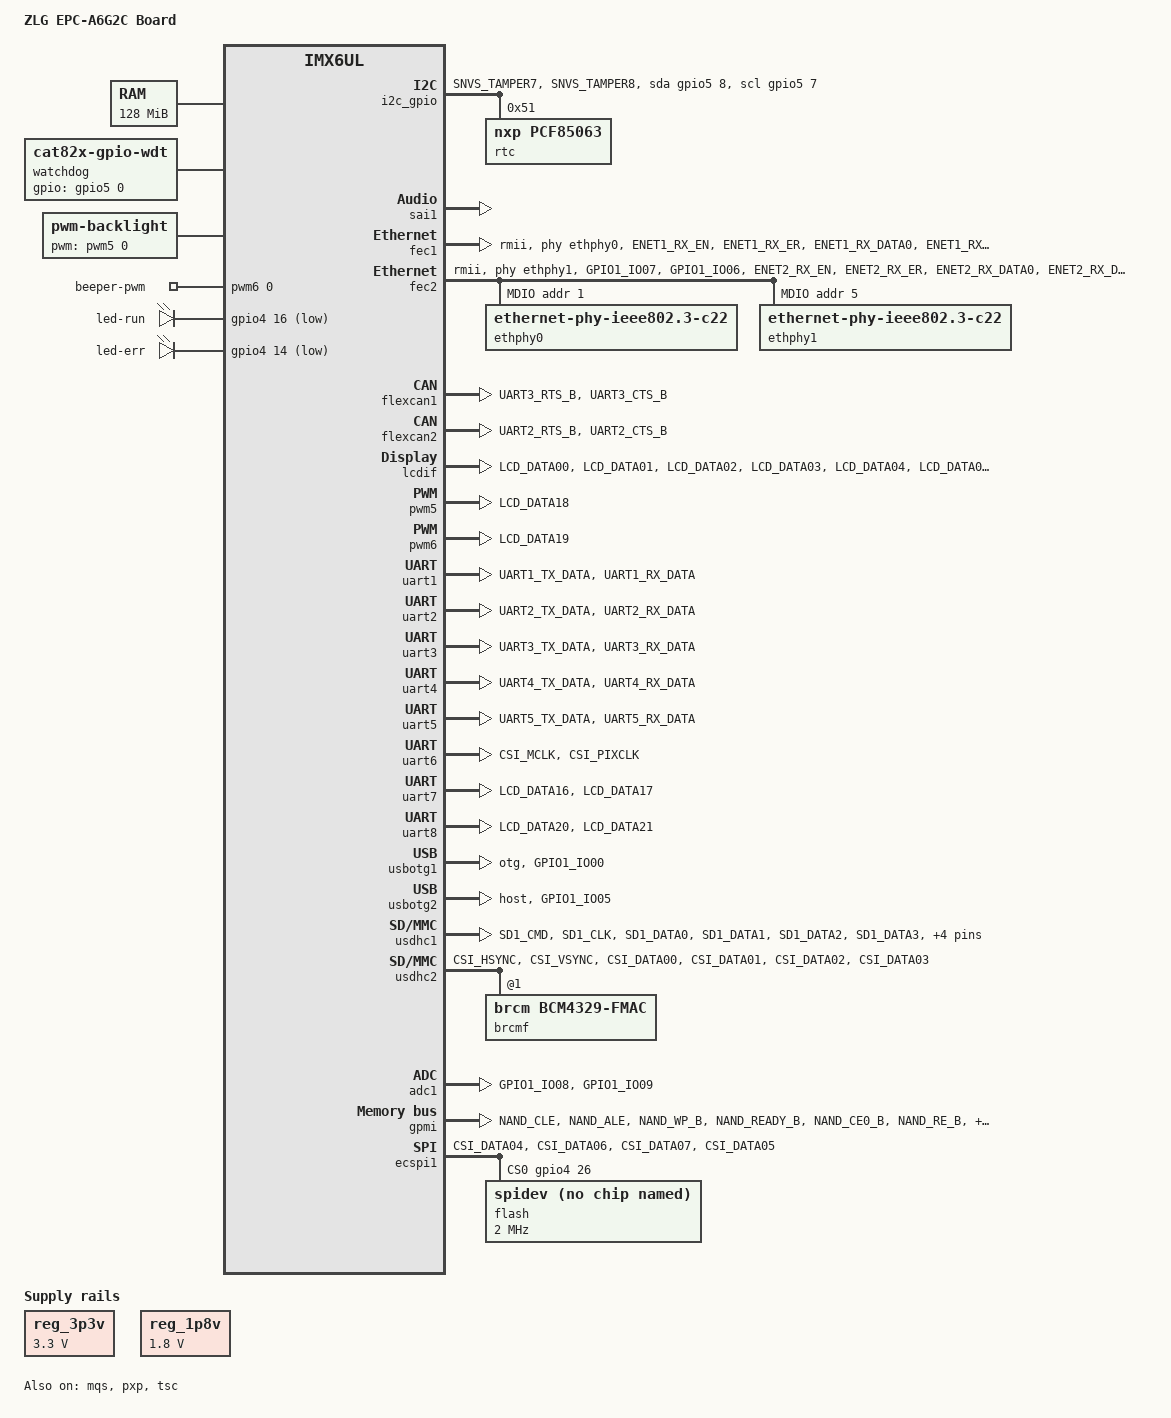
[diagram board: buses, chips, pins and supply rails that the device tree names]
/*
 * Copyright (C) 2015 Freescale Semiconductor, Inc.
 *
 * This program is free software; you can redistribute it and/or modify
 * it under the terms of the GNU General Public License version 2 as
 * published by the Free Software Foundation.
 */

/dts-v1/;

#include <dt-bindings/input/input.h>
#include "imx6g2c-base.dtsi"

/ {
	model = "ZLG EPC-A6G2C Board";
	compatible = "fsl,imx6ul-14x14-evk", "fsl,imx6ul";

	chosen {
		stdout-path = &uart1;
	};

	memory {
		reg = <0x80000000 0x8000000>;	/* 128M */
	};

    reserved-memory {
        #address-cells = <1>;
        #size-cells = <1>;
        ranges;

        linux,cma {
            compatible = "shared-dma-pool";
            reusable;
            size = <0x2000000>;     /* 32M */
            linux,cma-default;
        };
    };

	watchdog: watchdog {
		compatible = "cat82x-gpio-wdt";
		pinctrl-names = "default";
		pinctrl-0 = <&pinctrl_wdt>;
		gpios = <&gpio5 0 0>;
		hw_margin_ms = <800>;
	};

	backlight {
		compatible = "pwm-backlight";
		pwms = <&pwm5 0 5000000>;
		brightness-levels = <0 4 8 16 32 64 128 255>;
		default-brightness-level = <7>;
		status = "okay";
	};

	beep {
		compatible = "pwm-leds";

		beep-leds {
			label = "beeper-pwm";
			pwms = <&pwm6 0 400000>;
			max-brightness = <127>;
		};
	};

	pxp_v4l2 {
		compatible = "fsl,imx6ul-pxp-v4l2", "fsl,imx6sx-pxp-v4l2", "fsl,imx6sl-pxp-v4l2";
		status = "okay";
	};

	sound-mqs {
		compatible = "fsl,imx-audio-mqs";
		model = "mqs-audio";
		cpu-dai = <&sai1>;
		asrc-controller = <&asrc>;
		audio-codec = <&mqs>;
	};

	leds {
		compatible = "gpio-leds";

		green-led {
			label = "led-run";
			gpios = <&gpio4 16 1>;
			linux,default-trigger = "heartbeat";
		};

		red-led {
			label = "led-err";
			gpios = <&gpio4 14 1>;
			default-state = "keep";
		};
	};

	/* add by Codebreaker */
	regulators {
		compatible = "simple-bus";
		#address-cells = <1>;
		#size-cells = <0>;

		reg_3p3v: 3p3v {
			compatible = "regulator-fixed";
			regulator-name = "3P3V";
			regulator-min-microvolt = <3300000>;
			regulator-max-microvolt = <3300000>;
			regulator-always-on;
		};

		reg_1p8v: 1p8v {
			compatible = "regulator-fixed";
			regulator-name = "1P8V";
			regulator-min-microvolt = <1800000>;
			regulator-max-microvolt = <1800000>;
			regulator-always-on;
		};
	};

	i2c_gpio: analog-i2c {
		compatible = "i2c-gpio";
		gpios = <&gpio5 8 0 /* sda */
				 &gpio5 7 0	/* scl */
			>;
		pinctrl-names = "default";
		pinctrl-0 = <&pinctrl_i2c>;
		i2c-gpio,delay-us = <5>;
		i2c-gpio,timeout-ms = <100>;
		#address-cells = <1>;
		#size-cells = <0>;

		rtc@51 {
			compatible = "nxp,pcf85063";
			reg = <0x51>;
		};

		adv7180: adv7180@20 {
			compatible = "adv,adv7180";
			reg = <0x20>;
			pinctrl-names = "default";
			pinctrl-0 = <&pinctrl_csi0>;
			clocks = <&clks  IMX6UL_CLK_CSI>;
			clock-names = "csi_mclk";
			DOVDD-supply = <&reg_3p3v>;
			AVDD-supply  = <&reg_1p8v>;
			DVDD-supply  = <&reg_1p8v>;
			PVDD-supply  = <&reg_1p8v>;
			pwn-gpios = <&gpio5 6 0>;
			rst-gpios = <&gpio5 5 0>;
			csi_id = <0>;
			mclk = <22000000>;
			mclk_source = <0>;
			cvbs = <1>;
			status = "disabled";
			port {
				adv7180_ep: adv-endpoint {
					remote-endpoint = <&csi1_ep>;
				};
			};
		};
	};
};

&cpu0 {
	arm-supply = <&reg_arm>;
	soc-supply = <&reg_soc>;
};

&clks {
	assigned-clocks = <&clks IMX6UL_CLK_PLL4_AUDIO_DIV>;
	assigned-clock-rates = <786432000>;
};

&csi {
	status = "disabled";

	port {
		csi1_ep: endpoint {
			remote-endpoint = <&adv7180_ep>;
		};
	};
};

&sai1 {
	assigned-clocks = <&clks IMX6UL_CLK_SAI1_SEL>,
			<&clks IMX6UL_CLK_SAI1>;
	assigned-clock-parents = <&clks IMX6UL_CLK_PLL4_AUDIO_DIV>;
	assigned-clock-rates = <0>, <24576000>;
	status = "okay";
};

&mqs {
	pinctrl-names = "default";
	pinctrl-0 = <&pinctrl_mqs>;
	clocks = <&clks IMX6UL_CLK_SAI1>;
	clock-names = "mclk";
	status = "okay";
};

&fec1 {
	pinctrl-names = "default";
	pinctrl-0 = <&pinctrl_enet1>;
	phy-mode = "rmii";
	phy-handle = <&ethphy0>;
	status = "okay";
};

&fec2 {
	pinctrl-names = "default";
	pinctrl-0 = <&pinctrl_enet2>;
	phy-mode = "rmii";
	phy-handle = <&ethphy1>;
	status = "okay";

	mdio {
		#address-cells = <1>;
		#size-cells = <0>;

		ethphy0: ethernet-phy@1 {
			compatible = "ethernet-phy-ieee802.3-c22";
			reg = <1>;
		};

		ethphy1: ethernet-phy@5 {
			compatible = "ethernet-phy-ieee802.3-c22";
			reg = <5>;
		};
	};
};

&flexcan1 {
	pinctrl-names = "default";
	pinctrl-0 = <&pinctrl_flexcan1>;
	status = "okay";
};

&flexcan2 {
	pinctrl-names = "default";
	pinctrl-0 = <&pinctrl_flexcan2>;
	status = "okay";
};

&gpc {
	fsl,cpu_pupscr_sw2iso = <0x2>;
	fsl,cpu_pupscr_sw = <0x1>;
	fsl,cpu_pdnscr_iso2sw = <0x1>;
	fsl,cpu_pdnscr_iso = <0x1>;
/*	fsl,wdog-reset = <1>;  watchdog select of reset source */
	fsl,ldo-bypass = <1>; /* use ldo-bypass, u-boot will check it and configure */
};

&lcdif {
	pinctrl-names = "default";
	pinctrl-0 = <&pinctrl_lcdif_dat
		     &pinctrl_lcdif_ctrl>;
	display = <&display0>;
	status = "okay";

	display0: display {
		bits-per-pixel = <16>;
		bus-width = <16>;

		display-timings {
			native-mode = <&timing0>;
			timing0: timing0 {
			clock-frequency = <9000000>;
			hactive = <480>;
			vactive = <272>;
			hfront-porch = <8>;
			hback-porch = <43>;
			hsync-len = <4>;
			vback-porch = <8>;
			vfront-porch = <8>;
			vsync-len = <6>;

			hsync-active = <0>;
			vsync-active = <0>;
			de-active = <1>;
			pixelclk-active = <0>;
			};
		};
	};
};

&pwm5 {
	pinctrl-names = "default";
	pinctrl-0 = <&pinctrl_pwm5>;
	status = "okay";
};

&pwm6 {
	pinctrl-names = "default";
	pinctrl-0 = <&pinctrl_pwm6>;
	status = "okay";
};

&pxp {
	status = "okay";
};

&tsc {
	pinctrl-names = "default";
	pinctrl-0 = <&pinctrl_tsc>;
	status = "okay";
	xnur-gpio = <&gpio1 3 GPIO_ACTIVE_LOW>;
	measure_delay_time = <0xffff>;
	pre_charge_time = <0xfff>;
};

&uart1 {
	pinctrl-names = "default";
	pinctrl-0 = <&pinctrl_uart1>;
	status = "okay";
};

&uart2 {
	pinctrl-names = "default";
	pinctrl-0 = <&pinctrl_uart2>;
	status = "okay";
};

&uart3 {
	pinctrl-names = "default";
	pinctrl-0 = <&pinctrl_uart3>;
	status = "okay";
};

&uart4 {
	pinctrl-names = "default";
	pinctrl-0 = <&pinctrl_uart4>;
	status = "okay";
};

&uart5 {
	pinctrl-names = "default";
	pinctrl-0 = <&pinctrl_uart5>;
	status = "okay";
};

&uart6 {
	pinctrl-names = "default";
	pinctrl-0 = <&pinctrl_uart6>;
	status = "okay";
};

&uart7 {
	pinctrl-names = "default";
	pinctrl-0 = <&pinctrl_uart7>;
	status = "okay";
};

&uart8 {
	pinctrl-names = "default";
	pinctrl-0 = <&pinctrl_uart8>;
	status = "okay";
};

&usbotg1 {
	pinctrl-names = "default";
	pinctrl-0 = <&pinctrl_usbotg1>;
	dr_mode = "otg";
/*	otg-rev=<0x0200>;*/
	hnp-disable;
	srp-disable;
	adp-disable;
	status = "okay";
};

&usbotg2 {
	pinctrl-names = "default";
	pinctrl-0 = <&pinctrl_usbotg2>;
	dr_mode = "host";
    disable-over-current;
	status = "okay";
};

&usbphy1 {
    tx-d-cal = <0x5>;
};

&usbphy2 {
    tx-d-cal = <0x5>;
};

&usdhc1 {
	pinctrl-names = "default";
	pinctrl-0 = <&pinctrl_usdhc1>;
	no-1-8-v;
	cd-gpios = <&gpio1 19 GPIO_ACTIVE_LOW>;
	wp-gpios = <&gpio1 18 GPIO_ACTIVE_HIGH>;
	keep-power-in-suspend;
	enable-sdio-wakeup;
	status = "okay";
};

&usdhc2 {
    pinctrl-names = "default", "state_100mhz", "state_200mhz";
    pinctrl-0 = <&pinctrl_usdhc2>;
    pinctrl-1 = <&pinctrl_usdhc2_100mhz>;
    pinctrl-2 = <&pinctrl_usdhc2_200mhz>;
    keep-power-in-suspend;
    enable-sdio-wakeup;
    wifi-host;
	#address-cells = <1>;
	#size-cells = <0>;

	brcmf: brcmf@1 {
		reg = <1>;
		compatible = "brcm,bcm4329-fmac";
		host-wake-disable;
	};
};

&adc1 {
	pinctrl-names = "default";
	pinctrl-0 = <&pinctrl_adc1>;
	num-channels = <10>;
	status = "okay";
};

&gpmi {
	pinctrl-names = "defalut";
	pinctrl-0 = <&pinctrl_gpmi_nand_1>;
	status = "okay";
	nand-on-flash-bbt;

	partition@0 {
		label = "u-boot";
		reg = <0x0000000 0x400000>;	/* 4M */
	};

	partition@400000 {
		label = "dtb";
		reg = <0x400000 0x100000>;	/* 1M */
	};

	partition@500000 {
		label = "kernel-0";
		reg = <0x500000 0x800000>;	/* 8M */
	};

	partition@d00000 {
		label = "kernel-1";
		reg = <0xd00000 0x800000>;	/* 8M */
	};

	partition@1500000 {
		label = "logo";
		reg = <0x1500000 0x400000>; /* 4M */
	};

	partition@1900000 {
		label = "rootfs";
		reg = <0x1900000 0x4900000>; /* 73M */
	};

	partition@5900000 {
		label = "opt";
		reg = <0x6200000 0x1e00000>; /* 30M */
	};
};


/*&qspi {
	pinctrl-names = "default";
	pinctrl-0 = <&pinctrl_qspi>;
	status = "okay";
	ddrsmp=<0>;

	flash0: mr25h256@0 {
		#address-cells = <1>;
		#size-cells = <1>;
		compatible = "everspin,mr25h256", "mr25h256";
		spi-max-frequency = <40000000>;
		reg = <0>;
	};
};  */

&ecspi1 {
	fsl,spi-num-chipselects = <1>;
	cs-gpios = <&gpio4 26 0>;
	pinctrl-names = "default";
	pinctrl-0 = <&pinctrl_ecspi1_1 &pinctrl_ecspi1_cs_1>;
	status = "okay";

	flash: mx25l1653@0 {
		#address-cells = <1>;
		#size-cells = <1>;
		compatible = "rohm,dh2228fv";	/* spidev */
		spi-max-frequency = <2000000>;
		reg = <0>;
	};
};

&iomuxc {
	pinctrl-names = "default";
	pinctrl-0 = <&pinctrl_hog_1>;
	imx6ul-evk {
		pinctrl_hog_1: hoggrp-1 {
			fsl,pins = <
				MX6UL_PAD_NAND_DQS__GPIO4_IO16		0x17059 /* err led */
				MX6UL_PAD_NAND_CE1_B__GPIO4_IO14	0x17059 /* run led */
				MX6UL_PAD_LCD_RESET__GPIO3_IO04		0x17059 /* gpio3_4 */
/*				MX6UL_PAD_SNVS_TAMPER9__GPIO5_IO09	0x17059  gpio5_9 */
				MX6UL_PAD_SNVS_TAMPER1__GPIO5_IO01	0x17059 /* sys mode */
				MX6UL_PAD_SNVS_TAMPER2__GPIO5_IO02	0x17059	/* clr reg */
				MX6UL_PAD_SNVS_TAMPER3__GPIO5_IO03	0x17059 /* eth1_reset */
				MX6UL_PAD_SNVS_TAMPER4__GPIO5_IO04	0x17059 /* eth2_reset */
			>;
		};

		pinctrl_wdt: wdtgrp {
			fsl,pins = <
				MX6UL_PAD_SNVS_TAMPER0__GPIO5_IO00	0x17059 /* wdog */
			>;
		};

		pinctrl_enet1: enet1grp {
			fsl,pins = <
				MX6UL_PAD_ENET1_RX_EN__ENET1_RX_EN	0x1b0b0
				MX6UL_PAD_ENET1_RX_ER__ENET1_RX_ER	0x1b0b0
				MX6UL_PAD_ENET1_RX_DATA0__ENET1_RDATA00	0x1b0b0
				MX6UL_PAD_ENET1_RX_DATA1__ENET1_RDATA01	0x1b0b0
				MX6UL_PAD_ENET1_TX_EN__ENET1_TX_EN	0x1b0b0
				MX6UL_PAD_ENET1_TX_DATA0__ENET1_TDATA00	0x1b0b0
				MX6UL_PAD_ENET1_TX_DATA1__ENET1_TDATA01	0x1b0b0
				MX6UL_PAD_ENET1_TX_CLK__ENET1_REF_CLK1	0x4001b031
			>;
		};

		pinctrl_enet2: enet2grp {
			fsl,pins = <
				MX6UL_PAD_GPIO1_IO07__ENET2_MDC		0x1b0b0
				MX6UL_PAD_GPIO1_IO06__ENET2_MDIO	0x1b0b0
				MX6UL_PAD_ENET2_RX_EN__ENET2_RX_EN	0x1b0b0
				MX6UL_PAD_ENET2_RX_ER__ENET2_RX_ER	0x1b0b0
				MX6UL_PAD_ENET2_RX_DATA0__ENET2_RDATA00	0x1b0b0
				MX6UL_PAD_ENET2_RX_DATA1__ENET2_RDATA01	0x1b0b0
				MX6UL_PAD_ENET2_TX_EN__ENET2_TX_EN	0x1b0b0
				MX6UL_PAD_ENET2_TX_DATA0__ENET2_TDATA00	0x1b0b0
				MX6UL_PAD_ENET2_TX_DATA1__ENET2_TDATA01	0x1b0b0
				MX6UL_PAD_ENET2_TX_CLK__ENET2_REF_CLK2	0x4001b031
			>;
		};

		pinctrl_flexcan1: flexcan1grp{
			fsl,pins = <
				MX6UL_PAD_UART3_RTS_B__FLEXCAN1_RX	0x1b020
				MX6UL_PAD_UART3_CTS_B__FLEXCAN1_TX	0x1b020
			>;
		};

		pinctrl_flexcan2: flexcan2grp{
			fsl,pins = <
				MX6UL_PAD_UART2_RTS_B__FLEXCAN2_RX	0x1b020
				MX6UL_PAD_UART2_CTS_B__FLEXCAN2_TX	0x1b020
			>;
		};

		pinctrl_lcdif_dat: lcdifdatgrp {
			fsl,pins = <
				MX6UL_PAD_LCD_DATA00__LCDIF_DATA00  0x79
				MX6UL_PAD_LCD_DATA01__LCDIF_DATA01  0x79
				MX6UL_PAD_LCD_DATA02__LCDIF_DATA02  0x79
				MX6UL_PAD_LCD_DATA03__LCDIF_DATA03  0x79
				MX6UL_PAD_LCD_DATA04__LCDIF_DATA04  0x79
				MX6UL_PAD_LCD_DATA05__LCDIF_DATA05  0x79
				MX6UL_PAD_LCD_DATA06__LCDIF_DATA06  0x79
				MX6UL_PAD_LCD_DATA07__LCDIF_DATA07  0x79
				MX6UL_PAD_LCD_DATA08__LCDIF_DATA08  0x79
				MX6UL_PAD_LCD_DATA09__LCDIF_DATA09  0x79
				MX6UL_PAD_LCD_DATA10__LCDIF_DATA10  0x79
				MX6UL_PAD_LCD_DATA11__LCDIF_DATA11  0x79
				MX6UL_PAD_LCD_DATA12__LCDIF_DATA12  0x79
				MX6UL_PAD_LCD_DATA13__LCDIF_DATA13  0x79
				MX6UL_PAD_LCD_DATA14__LCDIF_DATA14  0x79
				MX6UL_PAD_LCD_DATA15__LCDIF_DATA15  0x79
			>;
		};

		pinctrl_lcdif_ctrl: lcdifctrlgrp {
			fsl,pins = <
				MX6UL_PAD_LCD_CLK__LCDIF_CLK	    0x79
				MX6UL_PAD_LCD_ENABLE__LCDIF_ENABLE  0x79
				MX6UL_PAD_LCD_HSYNC__LCDIF_HSYNC    0x79
				MX6UL_PAD_LCD_VSYNC__LCDIF_VSYNC    0x79
			>;
		};

		pinctrl_pwm5: pwm5grp {
			fsl,pins = <
				MX6UL_PAD_LCD_DATA18__PWM5_OUT	0x110b0
			>;
		};

		pinctrl_pwm6: pwm6grp {
			fsl,pins = <
				MX6UL_PAD_LCD_DATA19__PWM6_OUT	0x110b0
			>;
		};

		pinctrl_mqs: mqsgrp {
			fsl,pins = <
				MX6UL_PAD_LCD_DATA22__MQS_RIGHT 0x11088
				MX6UL_PAD_LCD_DATA23__MQS_LEFT  0x11088
			>;
		};

		pinctrl_uart1: uart1grp {
			fsl,pins = <
				MX6UL_PAD_UART1_TX_DATA__UART1_DCE_TX 0x1b0b1
				MX6UL_PAD_UART1_RX_DATA__UART1_DCE_RX 0x1b0b1
			>;
		};

		pinctrl_uart2: uart2grp {
			fsl,pins = <
				MX6UL_PAD_UART2_TX_DATA__UART2_DCE_TX	0x1b0b1
				MX6UL_PAD_UART2_RX_DATA__UART2_DCE_RX	0x1b0b1
			>;
		};

		pinctrl_uart3: uart3grp {
			fsl,pins = <
				MX6UL_PAD_UART3_TX_DATA__UART3_DCE_TX	0x1b0b1
				MX6UL_PAD_UART3_RX_DATA__UART3_DCE_RX	0x1b0b1
			>;
		};

		pinctrl_uart4: uart4grp {
			fsl,pins = <
				MX6UL_PAD_UART4_TX_DATA__UART4_DCE_TX	0x1b0b1
				MX6UL_PAD_UART4_RX_DATA__UART4_DCE_RX	0x1b0b1
			>;
		};

		pinctrl_uart5: uart5grp {
			fsl,pins = <
				MX6UL_PAD_UART5_TX_DATA__UART5_DCE_TX	0x1b0b1
				MX6UL_PAD_UART5_RX_DATA__UART5_DCE_RX	0x1b0b1
			>;
		};

		pinctrl_uart6: uart6grp {
			fsl,pins = <
				MX6UL_PAD_CSI_MCLK__UART6_DCE_TX	0x1b0b1
				MX6UL_PAD_CSI_PIXCLK__UART6_DCE_RX	0x1b0b1
			>;
		};

		pinctrl_uart7: uart7grp {
			fsl,pins = <
				MX6UL_PAD_LCD_DATA16__UART7_DCE_TX	0x1b0b1
				MX6UL_PAD_LCD_DATA17__UART7_DCE_RX	0x1b0b1
			>;
		};

		pinctrl_uart8: uart8grp {
			fsl,pins = <
				MX6UL_PAD_LCD_DATA20__UART8_DCE_TX	0x1b0b1
				MX6UL_PAD_LCD_DATA21__UART8_DCE_RX	0x1b0b1
			>;
		};

		pinctrl_usbotg1: usbotg1grp {
			fsl,pins = <
				MX6UL_PAD_GPIO1_IO00__ANATOP_OTG1_ID 0x17059
			>;
		};

		pinctrl_usbotg2: usbotg2grp {
			fsl,pins = <
				MX6UL_PAD_GPIO1_IO05__ANATOP_OTG2_ID 0x17059
			>;
		};

		pinctrl_usdhc1: usdhc1grp {
			fsl,pins = <
				MX6UL_PAD_SD1_CMD__USDHC1_CMD     0x17059
				MX6UL_PAD_SD1_CLK__USDHC1_CLK     0x10059
				MX6UL_PAD_SD1_DATA0__USDHC1_DATA0 0x17059
				MX6UL_PAD_SD1_DATA1__USDHC1_DATA1 0x17059
				MX6UL_PAD_SD1_DATA2__USDHC1_DATA2 0x17059
				MX6UL_PAD_SD1_DATA3__USDHC1_DATA3 0x17059
				MX6UL_PAD_UART1_RTS_B__GPIO1_IO19	0x17059 /* SD1 CD */
				MX6UL_PAD_UART1_CTS_B__GPIO1_IO18	0x17059 /* SD1 WP */
			>;
		};

        pinctrl_usdhc2: usdhc2grp {
            fsl,pins = <
                MX6UL_PAD_CSI_HSYNC__USDHC2_CMD     0x17059
                MX6UL_PAD_CSI_VSYNC__USDHC2_CLK     0x17059
                MX6UL_PAD_CSI_DATA00__USDHC2_DATA0  0x17059
                MX6UL_PAD_CSI_DATA01__USDHC2_DATA1  0x17059
                MX6UL_PAD_CSI_DATA02__USDHC2_DATA2  0x17059
                MX6UL_PAD_CSI_DATA03__USDHC2_DATA3  0x17059
            >;
        };

        pinctrl_usdhc2_100mhz: usdhc2grp100mhz {
            fsl,pins = <
                MX6UL_PAD_CSI_HSYNC__USDHC2_CMD     0x170b9
                MX6UL_PAD_CSI_VSYNC__USDHC2_CLK     0x170b9
                MX6UL_PAD_CSI_DATA00__USDHC2_DATA0  0x170b9
                MX6UL_PAD_CSI_DATA01__USDHC2_DATA1  0x170b9
                MX6UL_PAD_CSI_DATA02__USDHC2_DATA2  0x170b9
                MX6UL_PAD_CSI_DATA03__USDHC2_DATA3  0x170b9
            >;
        };

        pinctrl_usdhc2_200mhz: usdhc2grp200mhz {
            fsl,pins = <
                MX6UL_PAD_CSI_HSYNC__USDHC2_CMD     0x170f9
                MX6UL_PAD_CSI_VSYNC__USDHC2_CLK     0x170f9
                MX6UL_PAD_CSI_DATA00__USDHC2_DATA0  0x170f9
                MX6UL_PAD_CSI_DATA01__USDHC2_DATA1  0x170f9
                MX6UL_PAD_CSI_DATA02__USDHC2_DATA2  0x170f9
                MX6UL_PAD_CSI_DATA03__USDHC2_DATA3  0x170f9
            >;
        };

		pinctrl_tsc: tscgrp {
			fsl,pins = <
				MX6UL_PAD_GPIO1_IO01__GPIO1_IO01	0xb0
				MX6UL_PAD_GPIO1_IO02__GPIO1_IO02	0xb0
				MX6UL_PAD_GPIO1_IO03__GPIO1_IO03	0xb0
				MX6UL_PAD_GPIO1_IO04__GPIO1_IO04	0xb0
			>;
		};

		pinctrl_adc1: adc1grp {
			fsl,pins = <
				MX6UL_PAD_GPIO1_IO08__GPIO1_IO08	0xb0		/* adc 8 */
				MX6UL_PAD_GPIO1_IO09__GPIO1_IO09	0xb0		/* adc 9 */
			>;
		};

		pinctrl_gpmi_nand_1: gpmi-nand-1 {
			fsl,pins = <
				MX6UL_PAD_NAND_CLE__RAWNAND_CLE			0xb0b1
				MX6UL_PAD_NAND_ALE__RAWNAND_ALE			0xb0b1
				MX6UL_PAD_NAND_WP_B__RAWNAND_WP_B		0xb0b1
				MX6UL_PAD_NAND_READY_B__RAWNAND_READY_B 0xb0b1
				MX6UL_PAD_NAND_CE0_B__RAWNAND_CE0_B		0xb0b1
				MX6UL_PAD_NAND_RE_B__RAWNAND_RE_B		0xb0b1
				MX6UL_PAD_NAND_WE_B__RAWNAND_WE_B		0xb0b1
				MX6UL_PAD_NAND_WP_B__RAWNAND_WP_B		0xb0b1
				MX6UL_PAD_NAND_DATA00__RAWNAND_DATA00	0xb0b1
				MX6UL_PAD_NAND_DATA01__RAWNAND_DATA01	0xb0b1
				MX6UL_PAD_NAND_DATA02__RAWNAND_DATA02	0xb0b1
				MX6UL_PAD_NAND_DATA03__RAWNAND_DATA03	0xb0b1
				MX6UL_PAD_NAND_DATA04__RAWNAND_DATA04	0xb0b1
				MX6UL_PAD_NAND_DATA05__RAWNAND_DATA05	0xb0b1
				MX6UL_PAD_NAND_DATA06__RAWNAND_DATA06	0xb0b1
				MX6UL_PAD_NAND_DATA07__RAWNAND_DATA07	0xb0b1
			>;
		};

		pinctrl_ecspi1_cs_1: ecspi1_cs_grp-1 {
			fsl,pins = <
				MX6UL_PAD_CSI_DATA05__GPIO4_IO26	0x17059
			>;
		};

		pinctrl_ecspi1_1: escpi1grp {
			fsl,pins = <
				MX6UL_PAD_CSI_DATA04__ECSPI1_SCLK	0x100b1
				MX6UL_PAD_CSI_DATA06__ECSPI1_MOSI	0x100b1
				MX6UL_PAD_CSI_DATA07__ECSPI1_MISO	0x100b1
			>;
		};

		pinctrl_csi0: csi0grp {
			fsl,pins = <
				MX6UL_PAD_CSI_MCLK__CSI_MCLK		0x1b088
				MX6UL_PAD_CSI_PIXCLK__CSI_PIXCLK	0x1b088
				MX6UL_PAD_CSI_VSYNC__CSI_VSYNC		0x1b088
				MX6UL_PAD_CSI_HSYNC__CSI_HSYNC		0x1b088
				MX6UL_PAD_CSI_DATA00__CSI_DATA02	0x1b088
				MX6UL_PAD_CSI_DATA01__CSI_DATA03	0x1b088
				MX6UL_PAD_CSI_DATA02__CSI_DATA04	0x1b088
				MX6UL_PAD_CSI_DATA03__CSI_DATA05	0x1b088
				MX6UL_PAD_CSI_DATA04__CSI_DATA06	0x1b088
				MX6UL_PAD_CSI_DATA05__CSI_DATA07	0x1b088
				MX6UL_PAD_CSI_DATA06__CSI_DATA08	0x1b088
				MX6UL_PAD_CSI_DATA07__CSI_DATA09	0x1b088
				MX6UL_PAD_SNVS_TAMPER5__GPIO5_IO05	0x17059 /* csi_reset */
				MX6UL_PAD_SNVS_TAMPER6__GPIO5_IO06	0x17059 /* csi_en */
			>;
		};

		pinctrl_i2c: i2cgrp {
			fsl,pins = <
				MX6UL_PAD_SNVS_TAMPER7__GPIO5_IO07	0x4001b8b0  /*scl */
				MX6UL_PAD_SNVS_TAMPER8__GPIO5_IO08	0x4001b8b0  /*sda */
			>;
		};

		pinctrl_wifi: wifigrp {
			fsl,pins = <
				MX6UL_PAD_SNVS_TAMPER5__GPIO5_IO05 	0x17059	/* WL_REG_ON */
				MX6UL_PAD_SNVS_TAMPER9__GPIO5_IO09	0x17059 /*WL_HOST_WAKE*/
			>;
		};

		pinctrl_blueth: bluethgrp {
			fsl,pins = <
				MX6UL_PAD_UART2_RTS_B__UART2_DCE_RTS	0x1b0b1
				MX6UL_PAD_UART2_CTS_B__UART2_DCE_CTS	0x1b0b1
				MX6UL_PAD_SNVS_TAMPER6__GPIO5_IO06	0x17059 /* BT_WAKE */
			>;
		};

/*		pinctrl_qspi: qspigrp {
			fsl,pins = <
				MX6UL_PAD_NAND_DATA02__QSPI_B_DATA00 	0x70a1
				MX6UL_PAD_NAND_DATA03__QSPI_B_DATA01	0x70a1
				MX6UL_PAD_NAND_DATA04__QSPI_B_DATA02   	0x70a1
				MX6UL_PAD_NAND_DATA05__QSPI_B_DATA03    0x70a1
				MX6UL_PAD_NAND_RE_B__QSPI_B_SCLK      	0x70a1
				MX6UL_PAD_NAND_WE_B__QSPI_B_SS0_B      	0x70a1
			>;
		}; */

	};
};
